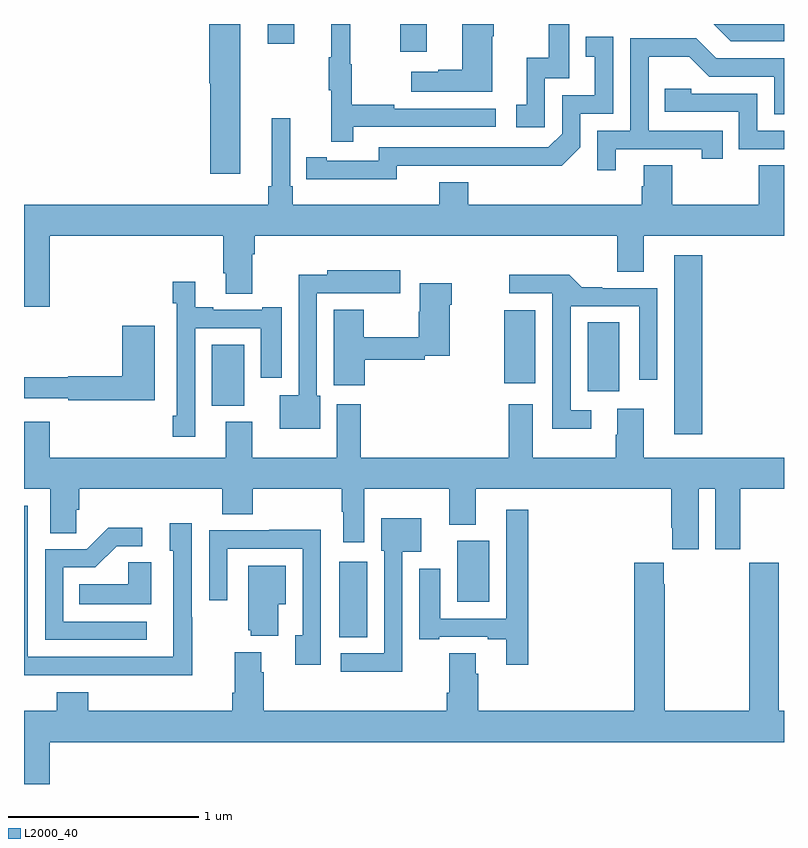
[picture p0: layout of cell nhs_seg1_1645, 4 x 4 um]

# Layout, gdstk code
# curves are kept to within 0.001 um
import gdstk
lib = gdstk.Library(unit=1e-6, precision=1e-09)
def R(c, l, rs):  # rectangles x0, y0, x1, y1
    for r in rs: c.add(gdstk.rectangle(r[:2], r[2:], *l))
def P(c, l, *ps):  # polygons
    for p in ps: c.add(gdstk.Polygon(p, *l))
L2000_40 = (2000, 40)

nhs_seg1_1645 = lib.new_cell('nhs_seg1_1645')
R(nhs_seg1_1645, L2000_40, [(202.658,530.971,202.807,531.37), (203.279,531.158,203.449,531.478), (204.422,532.041,204.569,532.981), (201.989,532.19,202.159,532.51), (203.966,532.266,204.133,532.628), (203.528,532.307,203.692,532.693), (202.979,534.054,203.119,534.199), (202.283,534.096,202.423,534.199)])
P(nhs_seg1_1645, L2000_40, [(203.464,534.134),(203.472,534.134),(203.472,534.199),(203.306,534.199),(203.306,533.957),(203.18,533.957),(203.18,533.947),(203.037,533.947),(203.037,533.843),(203.464,533.843)],
  [(202.733,533.658),(203.482,533.658),(203.482,533.754),(202.949,533.754),(202.949,533.774),(202.726,533.774),(202.726,533.988),(202.718,533.988),(202.718,534.199),(202.616,534.199),(202.616,534.025),(202.605,534.025),(202.605,533.851),(202.616,533.851),(202.616,533.58),(202.733,533.58)],
  [(203.742,533.913),(203.871,533.913),(203.871,534.199),(203.763,534.199),(203.763,534.022),(203.645,534.022),(203.645,533.775),(203.592,533.775),(203.592,533.655),(203.742,533.655)],
  [(202.138,534.199),(201.974,534.199),(201.974,533.886),(201.98,533.886),(201.98,533.412),(202.138,533.412)],
  [(205,534.199),(204.629,534.199),(204.72,534.108),(205,534.108)],
  [(202.962,533.454),(203.83,533.453),(203.928,533.55),(203.928,533.727),(204.102,533.727),(204.102,534.133),(203.956,534.133),(203.956,534.027),(204.005,534.027),(204.005,533.823),(203.832,533.823),(203.832,533.622),(203.76,533.55),(202.866,533.55),(202.866,533.478),(202.594,533.478),(202.594,533.498),(202.486,533.498),(202.486,533.382),(202.962,533.381)],
  [(204.115,533.541),(204.566,533.541),(204.566,533.49),(204.677,533.49),(204.677,533.637),(204.288,533.637),(204.288,534.026),(204.502,534.026),(204.606,533.922),(204.948,533.922),(204.948,533.724),(205,533.724),(205,534.018),(204.643,534.018),(204.538,534.123),(204.192,534.123),(204.192,533.637),(204.018,533.637),(204.018,533.43),(204.115,533.43)],
  [(205,533.637),(204.858,533.637),(204.858,533.832),(204.513,533.832),(204.513,533.859),(204.373,533.859),(204.373,533.736),(204.762,533.736),(204.762,533.541),(205,533.541)],
  [(201.136,533.084),(202.049,533.084),(202.049,532.888),(202.061,532.888),(202.061,532.78),(202.201,532.78),(202.201,532.988),(202.214,532.988),(202.214,533.084),(204.122,533.084),(204.122,532.894),(204.262,532.894),(204.262,533.084),(205,533.084),(205,533.456),(204.868,533.456),(204.868,533.248),(204.411,533.248),(204.411,533.456),(204.263,533.456),(204.263,533.346),(204.251,533.346),(204.251,533.248),(203.339,533.248),(203.339,533.365),(203.186,533.365),(203.186,533.248),(202.415,533.248),(202.415,533.344),(202.401,533.344),(202.401,533.704),(202.304,533.704),(202.304,533.344),(202.285,533.344),(202.285,533.248),(201,533.248),(201,532.71),(201.136,532.71)],
  [(202.558,532.242),(202.542,532.242),(202.542,532.782),(202.754,532.782),(202.754,532.781),(202.981,532.781),(202.981,532.903),(202.596,532.903),(202.596,532.88),(202.446,532.88),(202.446,532.246),(202.346,532.246),(202.346,532.07),(202.558,532.07)],
  [(203.986,532.167),(203.877,532.167),(203.877,532.713),(204.237,532.713),(204.237,532.326),(204.333,532.326),(204.333,532.809),(204.043,532.809),(204.043,532.814),(203.935,532.814),(203.87,532.88),(203.553,532.88),(203.553,532.782),(203.781,532.782),(203.781,532.07),(203.986,532.07)],
  [(201.9,532.599),(202.247,532.599),(202.247,532.338),(202.357,532.338),(202.357,532.708),(202.253,532.708),(202.253,532.695),(201.997,532.695),(201.997,532.708),(201.901,532.708),(201.901,532.843),(201.784,532.843),(201.784,532.73),(201.804,532.73),(201.804,532.138),(201.784,532.138),(201.784,532.026),(201.9,532.026)],
  [(202.793,532.432),(203.108,532.432),(203.108,532.452),(203.242,532.452),(203.242,532.721),(203.25,532.721),(203.25,532.834),(203.084,532.834),(203.084,532.685),(203.077,532.685),(203.077,532.551),(202.788,532.551),(202.788,532.696),(202.631,532.696),(202.631,532.299),(202.793,532.299)],
  [(201.688,532.612),(201.518,532.612),(201.518,532.346),(201.234,532.346),(201.234,532.339),(201,532.339),(201,532.23),(201.232,532.23),(201.232,532.218),(201.688,532.218)],
  [(204.55,531.752),(204.638,531.752),(204.638,531.435),(204.769,531.435),(204.769,531.752),(205,531.752),(205,531.916),(204.262,531.916),(204.262,532.174),(204.122,532.174),(204.122,532.037),(204.115,532.037),(204.115,531.916),(203.677,531.916),(203.677,532.198),(203.552,532.198),(203.552,531.916),(202.772,531.916),(202.772,532.198),(202.646,532.198),(202.646,531.916),(202.201,531.916),(202.201,532.105),(202.061,532.105),(202.061,531.916),(201.136,531.916),(201.136,532.105),(201,532.105),(201,531.752),(201.137,531.752),(201.137,531.52),(201.276,531.52),(201.276,531.643),(201.29,531.643),(201.29,531.752),(202.043,531.752),(202.043,531.619),(202.203,531.619),(202.203,531.752),(202.672,531.752),(202.672,531.631),(202.679,531.631),(202.679,531.471),(202.792,531.471),(202.792,531.752),(203.237,531.752),(203.237,531.563),(203.377,531.563),(203.377,531.752),(204.407,531.752),(204.407,531.547),(204.413,531.547),(204.413,531.435),(204.55,531.435)],
  [(201.885,531.077),(201.882,531.077),(201.882,531.571),(201.767,531.571),(201.767,531.426),(201.786,531.426),(201.786,530.868),(201.021,530.868),(201.021,531.663),(201,531.663),(201,530.772),(201.421,530.772),(201.421,530.771),(201.885,530.771)],
  [(203.654,531.643),(203.538,531.643),(203.538,531.069),(203.191,531.069),(203.191,531.331),(203.081,531.331),(203.081,530.961),(203.185,530.961),(203.185,530.973),(203.441,530.973),(203.441,530.961),(203.537,530.961),(203.537,530.826),(203.654,530.826)],
  [(202.992,531.422),(203.092,531.422),(203.092,531.598),(202.88,531.598),(202.88,531.426),(202.896,531.426),(202.896,530.886),(202.668,530.886),(202.668,530.789),(202.992,530.789)],
  [(201.646,531.054),(201.207,531.054),(201.207,531.339),(201.376,531.339),(201.487,531.45),(201.622,531.45),(201.622,531.548),(201.443,531.548),(201.33,531.435),(201.111,531.435),(201.111,530.958),(201.646,530.958)],
  [(202.563,531.536),(202.291,531.536),(202.291,531.534),(201.975,531.534),(201.975,531.165),(202.071,531.165),(202.071,531.438),(202.467,531.438),(202.467,530.982),(202.427,530.982),(202.427,530.826),(202.563,530.826)],
  [(201.67,531.365),(201.549,531.365),(201.549,531.25),(201.292,531.25),(201.292,531.146),(201.67,531.146)],
  [(201.136,530.42),(205,530.42),(205,530.584),(204.972,530.584),(204.972,531.364),(204.817,531.364),(204.817,530.584),(204.372,530.584),(204.372,531.251),(204.367,531.251),(204.367,531.364),(204.212,531.364),(204.212,530.584),(203.39,530.584),(203.39,530.78),(203.377,530.78),(203.377,530.888),(203.237,530.888),(203.237,530.68),(203.225,530.68),(203.225,530.584),(202.262,530.584),(202.262,530.786),(202.249,530.786),(202.249,530.893),(202.109,530.893),(202.109,530.68),(202.097,530.68),(202.097,530.584),(201.338,530.584),(201.338,530.683),(201.173,530.683),(201.173,530.584),(201,530.584),(201,530.199),(201.136,530.199)],
  [(202.339,531.146),(202.378,531.146),(202.378,531.349),(202.181,531.349),(202.181,531.009),(202.193,531.009),(202.193,530.978),(202.339,530.978)])

lib.write_gds('nhs_seg1_1645.gds')
